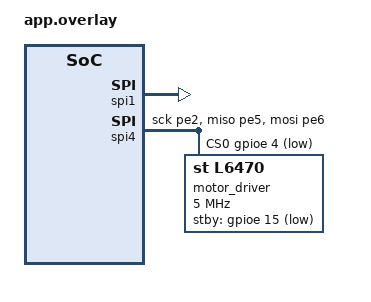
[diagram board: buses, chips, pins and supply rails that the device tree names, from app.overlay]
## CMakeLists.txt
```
# SPDX-License-Identifier: Apache-2.0

cmake_minimum_required(VERSION 3.20.0)

set(BOARD nucleo_f429zi)

find_package(Zephyr REQUIRED HINTS $ENV{ZEPHYR_BASE})
project(micro-ros-zephyr-demo)

target_sources(app PRIVATE
  src/l64x0.c
  src/main.c)
```

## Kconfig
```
mainmenu "ST L6470 test application"

menu "Application"

choice MOTOR_DRIVER
	prompt "Motor Driver"
	help
	  Select the motor driver.

config L6470
	bool "L6470"

config L6480
	bool "L6480"

endchoice

config L64X0_INIT_PRIORITY
	int "Motor init priority"
	default 75
	help
	  Motor driver initialization priority. This must be larger
	  than config CONFIG_SPI_INIT_PRIORITY, which is 70.

endmenu

menu "Zephyr"
source "Kconfig.zephyr"
endmenu
```

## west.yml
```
manifest:

  projects:
    - name: zephyr
      url: https://github.com/zephyrproject-rtos/zephyr
      revision: main
      path: zephyr
      west-commands: scripts/west-commands.yml
      import:
        name-allowlist:
          - cmsis
          - hal_stm32
          - picolibc
```

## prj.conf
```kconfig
CONFIG_LOG=y
CONFIG_SPI=y
CONFIG_GPIO=y
```

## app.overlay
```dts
&spi1 {
	status = "okay";
};

&spi4 {
	pinctrl-0 = <&spi4_sck_pe2 &spi4_miso_pe5 &spi4_mosi_pe6>;
	pinctrl-names = "default";
	cs-gpios = <&gpioe 4 (GPIO_ACTIVE_LOW | GPIO_PULL_UP)>;
	status = "okay";
	motor_driver: l6470@0 {
		compatible = "st,l6470";
		reg = <0>;
		spi-max-frequency = <5000000>;
		stby-gpios = <&gpioe 15 (GPIO_ACTIVE_LOW)>;
		status = "okay";
	};
};

&spi4_sck_pe2 {
	/delete-property/ bias-pull-down;
	bias-pull-up;
};
```

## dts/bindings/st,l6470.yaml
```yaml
# Copyright (c) 2023, Space Cubics, LLC.
# SPDX-License-Identifier: Apache-2.0

description: my device

compatible: "st,l6470"

include: [base.yaml, spi-device.yaml]

properties:
  reg:
    required: true

  stby-gpios:
    type: phandle-array
    required: true
```

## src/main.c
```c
/*
 * Copyright (c) 2023 Space Cubics, LLC.
 *
 * SPDX-License-Identifier: Apache-2.0
 */

#include <zephyr/logging/log.h>
LOG_MODULE_REGISTER(app, LOG_LEVEL_DBG);

#include <zephyr/kernel.h>
#include <zephyr/drivers/gpio.h>
#include <zephyr/sys/util.h>
#include <stdlib.h>

#include "l64x0.h"

#define MOTOR_DRIVER DT_NODELABEL(motor_driver)

#if IS_ENABLED(CONFIG_L6470)
static void debug_print(const struct device *const dev, int count)
{
	uint16_t adc_out = l64x0_getparam_adc_out(dev);
	uint32_t speed = l64x0_getparam_speed(dev);
	uint32_t status = l64x0_get_status(dev);
	printk("%d: Speed: %u (0x%x), Status: 0x%x (%s%s%s%s%s%s%s%s%s%s%s%s%s), ADC_OUT %x\n",
	       count,
	       speed, speed, status,
	       (status & L6470_STATUS_SCK_MOD) ? "SCK_MOD " : "",
	       (status & L6470_STATUS_STEP_LOSS_B) ? "" : "STEP_LOSS_B ",
	       (status & L6470_STATUS_STEP_LOSS_A) ? "" : "STEP_LOSS_A ",
	       (status & L6470_STATUS_OCD) ? "" : "OCD ",
	       (status & L6470_STATUS_TH_SD) ? "" : "TH_SD ",
	       (status & L6470_STATUS_TH_WRN) ? "" : "TH_WRN ",
	       (status & L6470_STATUS_UVLO) ? "" : "UVLO ",
	       (status & L6470_STATUS_WRONG_CMD) ? "WRONG_CMD " : "",
	       (status & L6470_STATUS_NOTPERF_CMD) ? "NOTPERF_CMD " : "",
	       (status & L6470_STATUS_DIR) ? "DIR_f " : "DIR_r ",
	       (status & L6470_STATUS_SW_EVN) ? "SW_EVN " : "",
	       (status & L6470_STATUS_BUSY) ? "" : "BUSY ",
	       (status & L6470_STATUS_HiZ) ? "HiZ" : "",
	       adc_out);
}
#elif IS_ENABLED(CONFIG_L6480)
static void debug_print(const struct device *const dev, int count)
{
	uint16_t adc_out = l64x0_getparam_adc_out(dev);
	uint32_t speed = l64x0_getparam_speed(dev);
	uint32_t status = l64x0_get_status(dev);
	printk("%d: Speed: %u (0x%x), Status: 0x%x (%s%s%s%s%s%s%s%s%s%s%s%s), ADC_OUT %x\n",
	       count,
	       speed, speed, status,
	       (status & L6480_STATUS_STEP_LOSS_B) ? "" : "STEP_LOSS_B ",
	       (status & L6480_STATUS_STEP_LOSS_A) ? "" : "STEP_LOSS_A ",
	       (status & L6480_STATUS_OCD) ? "" : "OCD ",
	       (status & L6480_STATUS_UVLO_ADC) ? "" : "UVLO_ADC ",
	       (status & L6480_STATUS_UVLO) ? "" : "UVLO ",
	       (status & L6480_STATUS_STCK_MOD) ? "STCK_MOD " : "",
	       (status & L6480_STATUS_CMD_ERROR) ? "CMD_ERROR " : "",
	       (status & L6480_STATUS_DIR) ? "DIR_f " : "DIR_r ",
	       (status & L6480_STATUS_SW_EVN) ? "SW_EVN " : "",
	       (status & L6480_STATUS_SW_F) ? "SW_F " : "",
	       (status & L6480_STATUS_BUSY) ? "" : "BUSY ",
	       (status & L6480_STATUS_HiZ) ? "HiZ" : "",
	       adc_out);
}
#endif

int main(void)
{
	const struct device *const dev = DEVICE_DT_GET(MOTOR_DRIVER);

	if (!device_is_ready(dev)) {
		printk("%s: device not ready.\n", dev->name);
		return EXIT_FAILURE;
	}

	const struct gpio_dt_spec n_stby =
		GPIO_DT_SPEC_GET(DT_NODELABEL(motor_driver), stby_gpios);
	if (!device_is_ready(n_stby.port)) {
		printk("%s: device not ready.\n", dev->name);
		return EXIT_FAILURE;
	}
	gpio_pin_configure_dt(&n_stby, GPIO_OUTPUT_ACTIVE);
	k_usleep(10);
	gpio_pin_set_dt(&n_stby, 0);

	k_sleep(K_MSEC(1));


	l64x0_nop(dev);
	l64x0_nop(dev);
	l64x0_nop(dev);
	l64x0_nop(dev);
	l64x0_reset_device(dev);
	k_usleep(500);
	debug_print(dev, -1);

	/* K_VAL = (K_VAL_X + BEMF_COMP) * VSCOMP * K_THERM) * microstep */
	/* No compensation is active */
	/** The K_VALs */
	l64x0_setparam_kval_hold(dev, L64X0_KVAL_X_256TH(22));
	l64x0_setparam_kval_acc(dev, L64X0_KVAL_X_256TH(22));
	l64x0_setparam_kval_dec(dev, L64X0_KVAL_X_256TH(22));
	l64x0_setparam_kval_run(dev, L64X0_KVAL_X_256TH(22));

	/** No BEMF for now */
	/* l64x0_setparam_st_slp(dev, 0); */
	/* l64x0_setparam_fn_slp_acc(dev, 0); */
	/* l64x0_setparam_fn_slp_dec(dev, 0); */

	/** VSCOMP is at CONFIG register */
	/** K_THERM is default 0 */

	/** 128 micro-steps */
	l64x0_setparam_step_mode(dev, L64X0_STEP_MODE_128TH);

	/* Accel and speed */
	l64x0_setparam_acc(dev, 0x19);
	l64x0_setparam_dec(dev, 0x10);
	l64x0_setparam_max_speed(dev, 30);
	l64x0_setparam_min_speed(dev, 1, false);

	l64x0_setparam_fs_spd(dev, 0x3ff);

	if (IS_ENABLED(CONFIG_L6470)) {
		/* OCD and Stall */
		l64x0_setparam_ocd_th(dev, L6470_OCD_TH_4125_mV);
		l64x0_setparam_stall_th(dev, L6470_STALL_TH_4000_mA);
	}
	else if (IS_ENABLED(CONFIG_L6480)) {
		/* OCD and Stall */
		l64x0_setparam_ocd_th(dev, L6480_OCD_TH_125_mV);
		l64x0_setparam_stall_th(dev, L6480_STALL_TH_125_mV);

		/* Gate Drive */
		l64x0_setparam_gatecfg1(dev, L6480_IGATE_8_mA | L6480_TCC_2875_ns);

		/* Configs */
		uint32_t reg;
		reg = l64x0_getparam_config(dev);
		l64x0_setparam_config(dev, reg | L6480_CONFIG_VCCVAL | L6480_CONFIG_UVLOVAL);
	}

	/* Now setttings are all done, wait for the charge pump to be above the threshold */
	WAIT_FOR(l64x0_get_status(dev) & L64X0_STATUS_UVLO, 2000, printk("."));
	printk("\n");

	l64x0_run(dev, 0x8000);
	//l64x0_move(dev, 0x128000);
	//l64x0_soft_stop(dev);

	for (int i=0; i<20; i++) {
		debug_print(dev, i);
		k_sleep(K_SECONDS(1));
	}
	printk("loop end\n");
	l64x0_soft_hiz(dev);
	printk("done\n");

	return EXIT_SUCCESS;
}
```

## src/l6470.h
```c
#include <zephyr/sys/util.h>
#include <zephyr/drivers/spi.h>

enum L64x0Addr {
	L64x0_ADDR_ABS_POS    = 0x01,
	L64x0_ADDR_EL_POS     = 0x02,
	L64x0_ADDR_MARK	      = 0x03,
	L64x0_ADDR_SPEED      = 0x04,
	L64x0_ADDR_ACC	      = 0x05,
	L64x0_ADDR_DEC	      = 0x06,
	L64x0_ADDR_MAX_SPEED  = 0x07,
	L64x0_ADDR_MIN_SPEED  = 0x08,
	L64x0_ADDR_KVAL_HOLD  = 0x09,
	L64x0_ADDR_KVAL_RUN   = 0x0a,
	L64x0_ADDR_KVAL_ACC   = 0x0b,
	L64x0_ADDR_KVAL_DEC   = 0x0c,
	L64x0_ADDR_INT_SPEED  = 0x0d,
	L64x0_ADDR_ST_SLP     = 0x0e,
	L64x0_ADDR_FN_SLP_ACC = 0x0f,
	L64x0_ADDR_FN_SLP_DEC = 0x10,
	L64x0_ADDR_K_THERM    = 0x11,
	L64x0_ADDR_ADC_OUT    = 0x12,
	L64x0_ADDR_OCD_TH     = 0x13,
	L64x0_ADDR_STALL_TH   = 0x14,
	L64x0_ADDR_FS_SPD     = 0x15,
	L64x0_ADDR_STEP_MODE  = 0x16,
	L64x0_ADDR_ALARM_EN   = 0x17,
	L64x0_ADDR_CONFIG     = 0x18,
	L64x0_ADDR_STATUS     = 0x19,
	L64x0_ADDR_LAST,
};

/* Minimum speed */
#define L64X0_MIN_SPEED_LSPD_OPT (0x800)

/* KVAL_X */
#define L64X0_KVAL_X_256TH(x) ((x) & GENMASK(7, 0))

/* Overcurrent Threshold */
#define L64X0_OCD_TH_375_mV  (0)
#define L64X0_OCD_TH_750_mV  (1)
#define L64X0_OCD_TH_1125_mV (2)
#define L64X0_OCD_TH_1500_mV (3)
#define L64X0_OCD_TH_1875_mV (4)
#define L64X0_OCD_TH_2250_mV (5)
#define L64X0_OCD_TH_2625_mV (6)
#define L64X0_OCD_TH_3000_mV (7)
#define L64X0_OCD_TH_3375_mV (8)
#define L64X0_OCD_TH_3750_mV (9)
#define L64X0_OCD_TH_4125_mV (10)
#define L64X0_OCD_TH_4500_mV (11)
#define L64X0_OCD_TH_4875_mV (12)
#define L64X0_OCD_TH_5250_mV (13)
#define L64X0_OCD_TH_5625_mV (14)
#define L64X0_OCD_TH_6000_mV (15)

/* Stall Threshold */
#define L64X0_STALL_TH_31_25_mA		(0)
#define L64X0_STALL_TH_62_50_mA		(1)
#define L64X0_STALL_TH_93_75_mA		(2)
#define L64X0_STALL_TH_125_mA		(3)
#define L64X0_STALL_TH_156_25_mA	(4)
#define L64X0_STALL_TH_187_50_mA	(5)
#define L64X0_STALL_TH_218_75_mA	(6)
#define L64X0_STALL_TH_250_mA		(7)
#define L64X0_STALL_TH_281_25_mA	(8)
#define L64X0_STALL_TH_312_50_mA	(9)
#define L64X0_STALL_TH_343_75_mA	(10)
#define L64X0_STALL_TH_375_mA		(11)
#define L64X0_STALL_TH_406_25_mA	(12)
#define L64X0_STALL_TH_437_50_mA	(13)
#define L64X0_STALL_TH_468_75_mA	(14)
#define L64X0_STALL_TH_500_mA		(15)
#define L64X0_STALL_TH_531_25_mA	(16)
#define L64X0_STALL_TH_562_50_mA	(17)
#define L64X0_STALL_TH_593_75_mA	(18)
#define L64X0_STALL_TH_625_mA		(19)
#define L64X0_STALL_TH_656_25_mA	(20)
#define L64X0_STALL_TH_687_50_mA	(21)
#define L64X0_STALL_TH_718_75_mA	(22)
#define L64X0_STALL_TH_750_mA		(23)
#define L64X0_STALL_TH_781_25_mA	(24)
#define L64X0_STALL_TH_812_50_mA	(25)
#define L64X0_STALL_TH_843_75_mA	(26)
#define L64X0_STALL_TH_875_mA		(27)
#define L64X0_STALL_TH_906_25_mA	(28)
#define L64X0_STALL_TH_937_50_mA	(29)
#define L64X0_STALL_TH_968_75_mA	(30)
#define L64X0_STALL_TH_1000_mA		(31)
#define L64X0_STALL_TH_1031_25_mA	(32)
#define L64X0_STALL_TH_1062_50_mA	(33)
#define L64X0_STALL_TH_1093_75_mA	(34)
#define L64X0_STALL_TH_1125_mA		(35)
#define L64X0_STALL_TH_1156_25_mA	(36)
#define L64X0_STALL_TH_1187_50_mA	(37)
#define L64X0_STALL_TH_1218_75_mA	(38)
#define L64X0_STALL_TH_1250_mA		(39)
#define L64X0_STALL_TH_1281_25_mA	(40)
#define L64X0_STALL_TH_1312_50_mA	(41)
#define L64X0_STALL_TH_1343_75_mA	(42)
#define L64X0_STALL_TH_1375_mA		(43)
#define L64X0_STALL_TH_1406_25_mA	(44)
#define L64X0_STALL_TH_1437_50_mA	(45)
#define L64X0_STALL_TH_1468_75_mA	(46)
#define L64X0_STALL_TH_1500_mA		(47)
#define L64X0_STALL_TH_1531_25_mA	(48)
#define L64X0_STALL_TH_1562_50_mA	(49)
#define L64X0_STALL_TH_1593_75_mA	(50)
#define L64X0_STALL_TH_1625_mA		(51)
#define L64X0_STALL_TH_1656_25_mA	(52)
#define L64X0_STALL_TH_1687_50_mA	(53)
#define L64X0_STALL_TH_1718_75_mA	(54)
#define L64X0_STALL_TH_1750_mA		(55)
#define L64X0_STALL_TH_1781_25_mA	(56)
#define L64X0_STALL_TH_1812_50_mA	(57)
#define L64X0_STALL_TH_1843_75_mA	(58)
#define L64X0_STALL_TH_1875_mA		(59)
#define L64X0_STALL_TH_1906_25_mA	(60)
#define L64X0_STALL_TH_1937_50_mA	(61)
#define L64X0_STALL_TH_1968_75_mA	(62)
#define L64X0_STALL_TH_2000_mA		(63)
#define L64X0_STALL_TH_2031_25_mA	(64)
#define L64X0_STALL_TH_2062_50_mA	(65)
#define L64X0_STALL_TH_2093_75_mA	(66)
#define L64X0_STALL_TH_2125_mA		(67)
#define L64X0_STALL_TH_2156_25_mA	(68)
#define L64X0_STALL_TH_2187_50_mA	(69)
#define L64X0_STALL_TH_2218_75_mA	(70)
#define L64X0_STALL_TH_2250_mA		(71)
#define L64X0_STALL_TH_2281_25_mA	(72)
#define L64X0_STALL_TH_2312_50_mA	(73)
#define L64X0_STALL_TH_2343_75_mA	(74)
#define L64X0_STALL_TH_2375_mA		(75)
#define L64X0_STALL_TH_2406_25_mA	(76)
#define L64X0_STALL_TH_2437_50_mA	(77)
#define L64X0_STALL_TH_2468_75_mA	(78)
#define L64X0_STALL_TH_2500_mA		(79)
#define L64X0_STALL_TH_2531_25_mA	(80)
#define L64X0_STALL_TH_2562_50_mA	(81)
#define L64X0_STALL_TH_2593_75_mA	(82)
#define L64X0_STALL_TH_2625_mA		(83)
#define L64X0_STALL_TH_2656_25_mA	(84)
#define L64X0_STALL_TH_2687_50_mA	(85)
#define L64X0_STALL_TH_2718_75_mA	(86)
#define L64X0_STALL_TH_2750_mA		(87)
#define L64X0_STALL_TH_2781_25_mA	(88)
#define L64X0_STALL_TH_2812_50_mA	(89)
#define L64X0_STALL_TH_2843_75_mA	(90)
#define L64X0_STALL_TH_2875_mA		(91)
#define L64X0_STALL_TH_2906_25_mA	(92)
#define L64X0_STALL_TH_2937_50_mA	(93)
#define L64X0_STALL_TH_2968_75_mA	(94)
#define L64X0_STALL_TH_3000_mA		(95)
#define L64X0_STALL_TH_3031_25_mA	(96)
#define L64X0_STALL_TH_3062_50_mA	(97)
#define L64X0_STALL_TH_3093_75_mA	(98)
#define L64X0_STALL_TH_3125_mA		(99)
#define L64X0_STALL_TH_3156_25_mA	(100)
#define L64X0_STALL_TH_3187_50_mA	(101)
#define L64X0_STALL_TH_3218_75_mA	(102)
#define L64X0_STALL_TH_3250_mA		(103)
#define L64X0_STALL_TH_3281_25_mA	(104)
#define L64X0_STALL_TH_3312_50_mA	(105)
#define L64X0_STALL_TH_3343_75_mA	(106)
#define L64X0_STALL_TH_3375_mA		(107)
#define L64X0_STALL_TH_3406_25_mA	(108)
#define L64X0_STALL_TH_3437_50_mA	(109)
#define L64X0_STALL_TH_3468_75_mA	(110)
#define L64X0_STALL_TH_3500_mA		(111)
#define L64X0_STALL_TH_3531_25_mA	(112)
#define L64X0_STALL_TH_3562_50_mA	(113)
#define L64X0_STALL_TH_3593_75_mA	(114)
#define L64X0_STALL_TH_3625_mA		(115)
#define L64X0_STALL_TH_3656_25_mA	(116)
#define L64X0_STALL_TH_3687_50_mA	(117)
#define L64X0_STALL_TH_3718_75_mA	(118)
#define L64X0_STALL_TH_3750_mA		(119)
#define L64X0_STALL_TH_3781_25_mA	(120)
#define L64X0_STALL_TH_3812_50_mA	(121)
#define L64X0_STALL_TH_3843_75_mA	(122)
#define L64X0_STALL_TH_3875_mA		(123)
#define L64X0_STALL_TH_3906_25_mA	(124)
#define L64X0_STALL_TH_3937_50_mA	(125)
#define L64X0_STALL_TH_3968_75_mA	(126)
#define L64X0_STALL_TH_4000_mA		(127)

/* Step mode */
#define L64X0_STEP_MODE_FULL          (0)
#define L64X0_STEP_MODE_HALF          (1)
#define L64X0_STEP_MODE_QUARTER       (2)
#define L64X0_STEP_MODE_8TH           (3)
#define L64X0_STEP_MODE_16TH          (4)
#define L64X0_STEP_MODE_32TH          (5)
#define L64X0_STEP_MODE_64TH          (6)
#define L64X0_STEP_MODE_128TH         (7)

/* IC configuration Register */
#define L64X0_CONFIG_F_PWM_INT(x)	(((x) << 13) & GENMASK(15, 13))
#define L64X0_CONFIG_F_PWM_DEC(x)	(((x) << 10) & GENMASK(12, 10))
#define L64X0_CONFIG_POW_SR(x)		(((x) << 8) & GENMASK(9, 8))
#define L64X0_CONFIG_OC_SD		BIT(7)
#define L64X0_CONFIG_EN_VSCOMP		BIT(5)
#define L64X0_CONFIG_SW_MODE		BIT(4)
#define L64X0_CONFIG_EXT_CLK		BIT(3)
#define L64X0_CONFIG_OSC_SEL(x)		((x) & GENMASK(2, 0))

/* Status */
#define L64X0_STATUS_SCK_MOD		BIT(15)
#define L64X0_STATUS_STEP_LOSS_B	BIT(14)
#define L64X0_STATUS_STEP_LOSS_A	BIT(13)
#define L64X0_STATUS_OCD		BIT(12)
#define L64X0_STATUS_TH_SD		BIT(11)
#define L64X0_STATUS_TH_WRN		BIT(10)
#define L64X0_STATUS_UVLO		BIT(9)
#define L64X0_STATUS_WRONG_CMD		BIT(8)
#define L64X0_STATUS_NOTPERF_CMD	BIT(7)
#define L64X0_STATUS_MOT_STATUS(x)	(((x) << 5) & GENMASK(6, 5))
#define L64X0_STATUS_DIR		BIT(4)
#define L64X0_STATUS_SW_EVN		BIT(3)
#define L64X0_STATUS_SW_F		BIT(2)
#define L64X0_STATUS_BUSY		BIT(1)
#define L64X0_STATUS_HiZ		BIT(0)
#define L64X0_STATUS_HIZ		STATUS_HiZ

int l64x0_nop(const struct device *const dev, struct spi_config *config);
void l64x0_setparam(const struct device *const dev, struct spi_config *config, uint8_t param, uint32_t val);
int l64x0_getparam(const struct device *const dev, struct spi_config *config, uint8_t param);
int l64x0_run(const struct device *const dev, struct spi_config *config, int speed);
int l64x0_move(const struct device *const dev, struct spi_config *config, int n_step);
int l64x0_reset_device(const struct device *const dev, struct spi_config *config);
int l64x0_soft_stop(const struct device *const dev, struct spi_config *config);
int l64x0_hard_stop(const struct device *const dev, struct spi_config *config);
int l64x0_soft_hiz(const struct device *const dev, struct spi_config *config);
int l64x0_hard_hiz(const struct device *const dev, struct spi_config *config);
int l64x0_get_status(const struct device *const dev, struct spi_config *config);

#define GEN_SETPARAM(fname, pname)					\
	static inline void l64x0_setparam_ ##fname(const struct device *const dev, struct spi_config *config, uint32_t val) \
	{								\
		l64x0_setparam(dev, config, L64x0_ADDR_ ##pname, val);	\
	}

GEN_SETPARAM(acc, ACC)
GEN_SETPARAM(dec, DEC)
GEN_SETPARAM(max_speed, MAX_SPEED)
static inline void l64x0_setparam_min_speed(const struct device *const dev, struct spi_config *config, uint32_t speed, bool lspd_opt)
{
	uint32_t val = speed & GENMASK(11, 0);

	if (lspd_opt)
		val |= L64X0_MIN_SPEED_LSPD_OPT;

	l64x0_setparam(dev, config, L64x0_ADDR_MIN_SPEED, val);
}
GEN_SETPARAM(kval_hold, KVAL_HOLD)
GEN_SETPARAM(kval_run, KVAL_RUN)
GEN_SETPARAM(kval_acc, KVAL_ACC)
GEN_SETPARAM(kval_dec, KVAL_DEC)
GEN_SETPARAM(int_speed, INT_SPEED)
GEN_SETPARAM(st_slp, ST_SLP)
GEN_SETPARAM(fn_slp_acc, FN_SLP_ACC)
GEN_SETPARAM(fn_slp_dec, FN_SLP_DEC)
GEN_SETPARAM(k_therm, K_THERM)
GEN_SETPARAM(adc_out, ADC_OUT)
GEN_SETPARAM(ocd_th, OCD_TH)
GEN_SETPARAM(stall_th, STALL_TH)
GEN_SETPARAM(fs_spd, FS_SPD)
GEN_SETPARAM(step_mode, STEP_MODE)
GEN_SETPARAM(alarm_en, ALARM_EN)
GEN_SETPARAM(config, CONFIG)
GEN_SETPARAM(status, STATUS)

#define GEN_GETPARAM(fname, pname)					\
	static inline int l64x0_getparam_ ##fname(const struct device *const dev, struct spi_config *config) \
	{								\
		return l64x0_getparam(dev, config, L64x0_ADDR_ ##pname);	\
	}

GEN_GETPARAM(abs_pos, ABS_POS)
GEN_GETPARAM(el_pos, EL_POS)
GEN_GETPARAM(mark, MARK)
GEN_GETPARAM(speed, SPEED)
GEN_GETPARAM(acc, ACC)
GEN_GETPARAM(dec, DEC)
GEN_GETPARAM(max_speed, MAX_SPEED)
GEN_GETPARAM(min_speed, MIN_SPEED)
GEN_GETPARAM(kval_hold, KVAL_HOLD)
GEN_GETPARAM(kval_run, KVAL_RUN)
GEN_GETPARAM(kval_acc, KVAL_ACC)
GEN_GETPARAM(kval_dec, KVAL_DEC)
GEN_GETPARAM(int_speed, INT_SPEED)
GEN_GETPARAM(st_slp, ST_SLP)
GEN_GETPARAM(fn_slp_acc, FN_SLP_ACC)
GEN_GETPARAM(fn_slp_dec, FN_SLP_DEC)
GEN_GETPARAM(k_therm, K_THERM)
GEN_GETPARAM(adc_out, ADC_OUT)
GEN_GETPARAM(ocd_th, OCD_TH)
GEN_GETPARAM(stall_th, STALL_TH)
GEN_GETPARAM(fs_spd, FS_SPD)
GEN_GETPARAM(step_mode, STEP_MODE)
GEN_GETPARAM(alarm_en, ALARM_EN)
GEN_GETPARAM(config, CONFIG)
GEN_GETPARAM(status, STATUS)
```

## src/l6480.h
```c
#include <zephyr/sys/util.h>
#include <zephyr/drivers/spi.h>

enum L64x0Addr {
	L64x0_ADDR_ABS_POS    = 0x01,
	L64x0_ADDR_EL_POS     = 0x02,
	L64x0_ADDR_MARK	      = 0x03,
	L64x0_ADDR_SPEED      = 0x04,
	L64x0_ADDR_ACC	      = 0x05,
	L64x0_ADDR_DEC	      = 0x06,
	L64x0_ADDR_MAX_SPEED  = 0x07,
	L64x0_ADDR_MIN_SPEED  = 0x08,
	L64x0_ADDR_KVAL_HOLD  = 0x09,
	L64x0_ADDR_KVAL_RUN   = 0x0a,
	L64x0_ADDR_KVAL_ACC   = 0x0b,
	L64x0_ADDR_KVAL_DEC   = 0x0c,
	L64x0_ADDR_INT_SPEED  = 0x0d,
	L64x0_ADDR_ST_SLP     = 0x0e,
	L64x0_ADDR_FN_SLP_ACC = 0x0f,
	L64x0_ADDR_FN_SLP_DEC = 0x10,
	L64x0_ADDR_K_THERM    = 0x11,
	L64x0_ADDR_ADC_OUT    = 0x12,
	L64x0_ADDR_OCD_TH     = 0x13,
	L64x0_ADDR_STALL_TH   = 0x14,
	L64x0_ADDR_FS_SPD     = 0x15,
	L64x0_ADDR_STEP_MODE  = 0x16,
	L64x0_ADDR_ALARM_EN   = 0x17,
	L64x0_ADDR_GATECFG1   = 0x18,
	L64x0_ADDR_GATECFG2   = 0x19,
	L64x0_ADDR_CONFIG     = 0x1a,
	L64x0_ADDR_STATUS     = 0x1b,
	L64x0_ADDR_LAST,
};

/* Minimum speed */
#define L64X0_MIN_SPEED_LSPD_OPT (0x800)

/* KVAL_X */
#define L64X0_KVAL_X_256TH(x) ((x) & GENMASK(7, 0))

/* Overcurrent Threshold */
#define L64X0_OCD_TH_31_25_mV         (0)
#define L64X0_OCD_TH_62_50_mV         (1)
#define L64X0_OCD_TH_93_75_mV         (2)
#define L64X0_OCD_TH_125_mV           (3)
#define L64X0_OCD_TH_156_25_mV        (4)
#define L64X0_OCD_TH_187_50_mV        (5)
#define L64X0_OCD_TH_218_75_mV        (6)
#define L64X0_OCD_TH_250_mV           (7)
#define L64X0_OCD_TH_281_25_mV        (8)
#define L64X0_OCD_TH_312_50_mV        (9)
#define L64X0_OCD_TH_343_75_mV        (10)
#define L64X0_OCD_TH_375_mV           (11)
#define L64X0_OCD_TH_406_25_mV        (12)
#define L64X0_OCD_TH_437_50_mV        (13)
#define L64X0_OCD_TH_468_75_mV        (14)
#define L64X0_OCD_TH_500_mV           (15)
#define L64X0_OCD_TH_531_25_mV        (16)
#define L64X0_OCD_TH_562_50_mV        (17)
#define L64X0_OCD_TH_593_75_mV        (18)
#define L64X0_OCD_TH_625_mV           (19)
#define L64X0_OCD_TH_656_25_mV        (20)
#define L64X0_OCD_TH_687_50_mV        (21)
#define L64X0_OCD_TH_718_75_mV        (22)
#define L64X0_OCD_TH_750_mV           (23)
#define L64X0_OCD_TH_781_25_mV        (24)
#define L64X0_OCD_TH_812_50_mV        (25)
#define L64X0_OCD_TH_843_75_mV        (26)
#define L64X0_OCD_TH_875_mV           (27)
#define L64X0_OCD_TH_906_25_mV        (28)
#define L64X0_OCD_TH_937_50_mV        (29)
#define L64X0_OCD_TH_968_75_mV        (30)
#define L64X0_OCD_TH_1000_mV          (31)

/* Stall detection Threshold */
#define L64X0_STALL_TH_31_25_mV         (0)
#define L64X0_STALL_TH_62_50_mV         (1)
#define L64X0_STALL_TH_93_75_mV         (2)
#define L64X0_STALL_TH_125_mV           (3)
#define L64X0_STALL_TH_156_25_mV        (4)
#define L64X0_STALL_TH_187_50_mV        (5)
#define L64X0_STALL_TH_218_75_mV        (6)
#define L64X0_STALL_TH_250_mV           (7)
#define L64X0_STALL_TH_281_25_mV        (8)
#define L64X0_STALL_TH_312_50_mV        (9)
#define L64X0_STALL_TH_343_75_mV        (10)
#define L64X0_STALL_TH_375_mV           (11)
#define L64X0_STALL_TH_406_25_mV        (12)
#define L64X0_STALL_TH_437_50_mV        (13)
#define L64X0_STALL_TH_468_75_mV        (14)
#define L64X0_STALL_TH_500_mV           (15)
#define L64X0_STALL_TH_531_25_mV        (16)
#define L64X0_STALL_TH_562_50_mV        (17)
#define L64X0_STALL_TH_593_75_mV        (18)
#define L64X0_STALL_TH_625_mV           (19)
#define L64X0_STALL_TH_656_25_mV        (20)
#define L64X0_STALL_TH_687_50_mV        (21)
#define L64X0_STALL_TH_718_75_mV        (22)
#define L64X0_STALL_TH_750_mV           (23)
#define L64X0_STALL_TH_781_25_mV        (24)
#define L64X0_STALL_TH_812_50_mV        (25)
#define L64X0_STALL_TH_843_75_mV        (26)
#define L64X0_STALL_TH_875_mV           (27)
#define L64X0_STALL_TH_906_25_mV        (28)
#define L64X0_STALL_TH_937_50_mV        (29)
#define L64X0_STALL_TH_968_75_mV        (30)
#define L64X0_STALL_TH_1000_mV          (31)

/* Step mode */
#define L64X0_STEP_MODE_FULL          (0)
#define L64X0_STEP_MODE_HALF          (1)
#define L64X0_STEP_MODE_QUARTER       (2)
#define L64X0_STEP_MODE_8TH           (3)
#define L64X0_STEP_MODE_16TH          (4)
#define L64X0_STEP_MODE_32TH          (5)
#define L64X0_STEP_MODE_64TH          (6)
#define L64X0_STEP_MODE_128TH         (7)

/* Gate driver configuration */
#define L64X0_WD_EN	BIT(11)

#define L64X0_TBOOST_0_ns		(0)
#define L64X0_TBOOST_625_833_125_ns	(1 << 8)
#define L64X0_TBOOST_125_ns		(2 << 8)
#define L64X0_TBOOST_250_ns		(3 << 8)
#define L64X0_TBOOST_375_ns		(4 << 8)
#define L64X0_TBOOST_500_ns		(5 << 8)
#define L64X0_TBOOST_750_ns		(6 << 8)
#define L64X0_TBOOST_1000_ns		(7 << 8)

#define L64X0_IGATE_4_mA (0)
/* #define L64X0_IGATE_4_mA (1 << 5) */
#define L64X0_IGATE_8_mA (2 << 5)
#define L64X0_IGATE_16_mA (3 << 5)
#define L64X0_IGATE_24_mA (4 << 5)
#define L64X0_IGATE_32_mA (5 << 5)
#define L64X0_IGATE_64_mA (6 << 5)
#define L64X0_IGATE_96_mA (7 << 5)

#define L64X0_TCC_125_ns	(0)
#define L64X0_TCC_250_ns	(1)
#define L64X0_TCC_375_ns	(2)
#define L64X0_TCC_500_ns	(3)
#define L64X0_TCC_625_ns	(4)
#define L64X0_TCC_750_ns	(5)
#define L64X0_TCC_875_ns	(6)
#define L64X0_TCC_1000_ns	(7)
#define L64X0_TCC_1125_ns	(8)
#define L64X0_TCC_1250_ns	(9)
#define L64X0_TCC_1375_ns	(10)
#define L64X0_TCC_1500_ns	(11)
#define L64X0_TCC_1625_ns	(12)
#define L64X0_TCC_1750_ns	(13)
#define L64X0_TCC_1875_ns	(14)
#define L64X0_TCC_2000_ns	(15)
#define L64X0_TCC_2125_ns	(16)
#define L64X0_TCC_2250_ns	(17)
#define L64X0_TCC_2375_ns	(18)
#define L64X0_TCC_2500_ns	(19)
#define L64X0_TCC_2625_ns	(20)
#define L64X0_TCC_2750_ns	(21)
#define L64X0_TCC_2875_ns	(22)
#define L64X0_TCC_3000_ns	(23)
#define L64X0_TCC_3125_ns	(24)
#define L64X0_TCC_3250_ns	(25)
#define L64X0_TCC_3375_ns	(26)
#define L64X0_TCC_3500_ns	(27)
#define L64X0_TCC_3625_ns	(28)
/* #define L64X0_TCC_3750_ns	(29) */
/* #define L64X0_TCC_3750_ns	(30) */
#define L64X0_TCC_3750_ns	(31)

/* IC configuration Register */
#define L64X0_CONFIG_F_PWM_INT(x)	(((x) << 13) & GENMASK(15, 13))
#define L64X0_CONFIG_F_PWM_DEC(x)	(((x) << 10) & GENMASK(12, 10))
#define L64X0_CONFIG_VCCVAL		BIT(9)
#define L64X0_CONFIG_UVLOVAL		BIT(8)
#define L64X0_CONFIG_OC_SD		BIT(7)
#define L64X0_CONFIG_EN_VSCOMP		BIT(5)
#define L64X0_CONFIG_SW_MODE		BIT(4)
#define L64X0_CONFIG_EXT_CLK		BIT(3)
#define L64X0_CONFIG_OSC_SEL(x)		((x) & GENMASK(2, 0))

/* Status */
#define L64X0_STATUS_STEP_LOSS_B	BIT(15)
#define L64X0_STATUS_STEP_LOSS_A	BIT(14)
#define L64X0_STATUS_OCD		BIT(13)
#define L64X0_STATUS_TH_STATUS(x)	(((x) << 11) & GENMASK(12, 11))
#define L64X0_STATUS_UVLO_ADC		BIT(10)
#define L64X0_STATUS_UVLO		BIT(9)
#define L64X0_STATUS_STCK_MOD		BIT(8)
#define L64X0_STATUS_CMD_ERROR		BIT(7)
#define L64X0_STATUS_MOT_STATUS(x)	(((x) << 5) & GENMASK(6, 5))
#define L64X0_STATUS_DIR		BIT(4)
#define L64X0_STATUS_SW_EVN		BIT(3)
#define L64X0_STATUS_SW_F		BIT(2)
#define L64X0_STATUS_BUSY		BIT(1)
#define L64X0_STATUS_HiZ		BIT(0)
#define L64X0_STATUS_HIZ		STATUS_HiZ

int l64x0_nop(const struct device *const dev, struct spi_config *config);
void l64x0_setparam(const struct device *const dev, struct spi_config *config, uint8_t param, uint32_t val);
int l64x0_getparam(const struct device *const dev, struct spi_config *config, uint8_t param);
int l64x0_run(const struct device *const dev, struct spi_config *config, int speed);
int l64x0_move(const struct device *const dev, struct spi_config *config, int n_step);
int l64x0_reset_device(const struct device *const dev, struct spi_config *config);
int l64x0_soft_stop(const struct device *const dev, struct spi_config *config);
int l64x0_hard_stop(const struct device *const dev, struct spi_config *config);
int l64x0_soft_hiz(const struct device *const dev, struct spi_config *config);
int l64x0_hard_hiz(const struct device *const dev, struct spi_config *config);
int l64x0_get_status(const struct device *const dev, struct spi_config *config);

#define GEN_SETPARAM(fname, pname)					\
	static inline void l64x0_setparam_ ##fname(const struct device *const dev, struct spi_config *config, uint32_t val) \
	{								\
		l64x0_setparam(dev, config, L64x0_ADDR_ ##pname, val);	\
	}

GEN_SETPARAM(acc, ACC)
GEN_SETPARAM(dec, DEC)
GEN_SETPARAM(max_speed, MAX_SPEED)
static inline void l64x0_setparam_min_speed(const struct device *const dev, struct spi_config *config, uint32_t speed, bool lspd_opt)
{
	uint32_t val = speed & GENMASK(11, 0);

	if (lspd_opt)
		val |= L64X0_MIN_SPEED_LSPD_OPT;

	l64x0_setparam(dev, config, L64x0_ADDR_MIN_SPEED, val);
}
GEN_SETPARAM(kval_hold, KVAL_HOLD)
GEN_SETPARAM(kval_run, KVAL_RUN)
GEN_SETPARAM(kval_acc, KVAL_ACC)
GEN_SETPARAM(kval_dec, KVAL_DEC)
GEN_SETPARAM(int_speed, INT_SPEED)
GEN_SETPARAM(st_slp, ST_SLP)
GEN_SETPARAM(fn_slp_acc, FN_SLP_ACC)
GEN_SETPARAM(fn_slp_dec, FN_SLP_DEC)
GEN_SETPARAM(k_therm, K_THERM)
GEN_SETPARAM(adc_out, ADC_OUT)
GEN_SETPARAM(ocd_th, OCD_TH)
GEN_SETPARAM(stall_th, STALL_TH)
GEN_SETPARAM(fs_spd, FS_SPD)
GEN_SETPARAM(step_mode, STEP_MODE)
GEN_SETPARAM(alarm_en, ALARM_EN)
GEN_SETPARAM(gatecfg1, GATECFG1)
GEN_SETPARAM(gatecfg2, GATECFG2)
GEN_SETPARAM(config, CONFIG)
GEN_SETPARAM(status, STATUS)

#define GEN_GETPARAM(fname, pname)					\
	static inline int l64x0_getparam_ ##fname(const struct device *const dev, struct spi_config *config) \
	{								\
		return l64x0_getparam(dev, config, L64x0_ADDR_ ##pname);	\
	}

GEN_GETPARAM(abs_pos, ABS_POS)
GEN_GETPARAM(el_pos, EL_POS)
GEN_GETPARAM(mark, MARK)
GEN_GETPARAM(speed, SPEED)
GEN_GETPARAM(acc, ACC)
GEN_GETPARAM(dec, DEC)
GEN_GETPARAM(max_speed, MAX_SPEED)
GEN_GETPARAM(min_speed, MIN_SPEED)
GEN_GETPARAM(kval_hold, KVAL_HOLD)
GEN_GETPARAM(kval_run, KVAL_RUN)
GEN_GETPARAM(kval_acc, KVAL_ACC)
GEN_GETPARAM(kval_dec, KVAL_DEC)
GEN_GETPARAM(int_speed, INT_SPEED)
GEN_GETPARAM(st_slp, ST_SLP)
GEN_GETPARAM(fn_slp_acc, FN_SLP_ACC)
GEN_GETPARAM(fn_slp_dec, FN_SLP_DEC)
GEN_GETPARAM(k_therm, K_THERM)
GEN_GETPARAM(adc_out, ADC_OUT)
GEN_GETPARAM(ocd_th, OCD_TH)
GEN_GETPARAM(stall_th, STALL_TH)
GEN_GETPARAM(fs_spd, FS_SPD)
GEN_GETPARAM(step_mode, STEP_MODE)
GEN_GETPARAM(alarm_en, ALARM_EN)
GEN_GETPARAM(gatecfg1, GATECFG1)
GEN_GETPARAM(gatecfg2, GATECFG2)
GEN_GETPARAM(config, CONFIG)
GEN_GETPARAM(status, STATUS)
```

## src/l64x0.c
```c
/*
 * Copyright (c) 2023 Space Cubics, LLC.
 *
 * SPDX-License-Identifier: Apache-2.0
 */

#define DT_DRV_COMPAT st_l6470

#include <zephyr/logging/log.h>
LOG_MODULE_REGISTER(l64x0, LOG_LEVEL_DBG);

#include "l64x0.h"

#include <zephyr/device.h>
#include <zephyr/drivers/spi.h>
#include <zephyr/drivers/gpio.h>
#include <zephyr/sys/util.h>
#include <stdlib.h>

struct l64x0_config {
	struct spi_dt_spec spi;
};

/* Commands */
#define RX_BYTES_NONE (0)
#define RX_BYTES_GET_STATUS (2)

#define TX_BYTES_NONE (0)
#define TX_BYTES_RUN (3)
#define TX_BYTES_MOVE (3)

#define CMD_NOP          ((0))

#define CMD_SET_PARAM    ((0 << 5))
#define CMD_GET_PARAM    ((1 << 5))

#define CMD_MOVE         ((2 << 5))
#define CMD_RUN          ((2 << 5) | BIT(4))
#define CMD_STEP_CLOCK   ((2 << 5) | BIT(4) | BIT(3))

#define CMD_GOTO         ((3 << 5)
#define CMD_GOTO_DIR     ((3 << 5) |          BIT(3))
#define CMD_GO_HOME      ((3 << 5) | BIT(4))
#define CMD_GO_MARK      ((3 << 5) | BIT(4) | BIT(3))

#define CMD_GO_UNTIL     ((4 << 5) |                   BIT(1))
#define CMD_RELEASE_SW   ((4 << 5) | BIT(4)            BIT(1))

#define CMD_SOFT_HIZ     ((5 << 5))
#define CMD_HARD_HIZ     ((5 << 5) |          BIT(3))
#define CMD_SOFT_STOP    ((5 << 5) | BIT(4))
#define CMD_HARD_STOP    ((5 << 5) | BIT(4) | BIT(3))

#define CMD_RESET_DEVICE ((6 << 5))
#define CMD_GET_STATUS   ((6 << 5) | BIT(4))
#define CMD_RESET_POS    ((6 << 5) | BIT(4) | BIT(3))

#if IS_ENABLED(CONFIG_L6470)
static int bit_len[] = {
        [L64x0_ADDR_ABS_POS]    = 22,
        [L64x0_ADDR_EL_POS]     = 9,
        [L64x0_ADDR_MARK]       = 22,
        [L64x0_ADDR_SPEED]      = 20,
        [L64x0_ADDR_ACC]        = 12,
        [L64x0_ADDR_DEC]        = 12,
        [L64x0_ADDR_MAX_SPEED]  = 10,
        [L64x0_ADDR_MIN_SPEED]  = 13,
        [L64x0_ADDR_KVAL_HOLD]  = 8,
        [L64x0_ADDR_KVAL_RUN]   = 8,
        [L64x0_ADDR_KVAL_ACC]   = 8,
        [L64x0_ADDR_KVAL_DEC]   = 8,
        [L64x0_ADDR_INT_SPEED]  = 14,
        [L64x0_ADDR_ST_SLP]     = 8,
        [L64x0_ADDR_FN_SLP_ACC] = 8,
        [L64x0_ADDR_FN_SLP_DEC] = 8,
        [L64x0_ADDR_K_THERM]    = 4,
        [L64x0_ADDR_ADC_OUT]    = 5,
        [L64x0_ADDR_OCD_TH]     = 4,
        [L64x0_ADDR_STALL_TH]   = 7,
        [L64x0_ADDR_FS_SPD]     = 10,
        [L64x0_ADDR_STEP_MODE]  = 8,
        [L64x0_ADDR_ALARM_EN]   = 8,
        [L64x0_ADDR_CONFIG]     = 16,
        [L64x0_ADDR_STATUS]     = 16,
};
#elif IS_ENABLED(CONFIG_L6480)
static int bit_len[] = {
        [L64x0_ADDR_ABS_POS]    = 22,
        [L64x0_ADDR_EL_POS]     = 9,
        [L64x0_ADDR_MARK]       = 22,
        [L64x0_ADDR_SPEED]      = 20,
        [L64x0_ADDR_ACC]        = 12,
        [L64x0_ADDR_DEC]        = 12,
        [L64x0_ADDR_MAX_SPEED]  = 10,
        [L64x0_ADDR_MIN_SPEED]  = 12,
        [L64x0_ADDR_KVAL_HOLD]  = 8,
        [L64x0_ADDR_KVAL_RUN]   = 8,
        [L64x0_ADDR_KVAL_ACC]   = 8,
        [L64x0_ADDR_KVAL_DEC]   = 8,
        [L64x0_ADDR_INT_SPEED]  = 14,
        [L64x0_ADDR_ST_SLP]     = 8,
        [L64x0_ADDR_FN_SLP_ACC] = 8,
        [L64x0_ADDR_FN_SLP_DEC] = 8,
        [L64x0_ADDR_K_THERM]    = 4,
        [L64x0_ADDR_ADC_OUT]    = 5,
        [L64x0_ADDR_OCD_TH]     = 5,
        [L64x0_ADDR_STALL_TH]   = 5,
        [L64x0_ADDR_FS_SPD]     = 11,
        [L64x0_ADDR_STEP_MODE]  = 4,
        [L64x0_ADDR_ALARM_EN]   = 8,
        [L64x0_ADDR_GATECFG1]   = 11,
        [L64x0_ADDR_GATECFG2]   = 8,
        [L64x0_ADDR_CONFIG]     = 16,
        [L64x0_ADDR_STATUS]     = 16,
};
#endif

#define BITS_TO_BYTES(x) (((x) + 7) >> 3)

static int send_command(const struct device *const dev, uint8_t cmd, int val, int tx_bytes, int rx_bytes)
{
	const struct l64x0_config *config = dev->config;
	const struct spi_dt_spec *spec = &config->spi;
        uint8_t value;
        struct spi_buf bufs;
        struct spi_buf_set bufset;
        bufset.buffers = &bufs;
        bufset.count = 1;
        bufs.buf = &cmd;
        bufs.len = 1;
        int ret = 0;

        spi_write_dt(spec, &bufset);

        bufs.buf = &value;

        switch (tx_bytes) {
        case 0:
                break;
        case 1:
                value = val & 0xff;
                spi_write_dt(spec, &bufset);

                break;
        case 2:
                value = (val >> 8) & 0xff;
                spi_write_dt(spec, &bufset);

                value = val & 0xff;
                spi_write_dt(spec, &bufset);

                break;
        case 3:
                value = (val >> 16) & 0xff;
                spi_write_dt(spec, &bufset);

                value = (val >> 8) & 0xff;
                spi_write_dt(spec, &bufset);

                value = val & 0xff;
                spi_write_dt(spec, &bufset);

                break;
        default:
                break;
        }

        switch (rx_bytes) {
        case 0:
                break;
        case 1:
                /* FIXME: this breaks SPI communication */
                //k_busy_wait(10);
                spi_read_dt(spec, &bufset);
                ret = value;

                break;
        case 2:
                spi_read_dt(spec, &bufset);
                ret |= value << 8;

                spi_read_dt(spec, &bufset);
                ret |= value;

                break;
        case 3:
                spi_read_dt(spec, &bufset);
                ret |= value << 16;

                spi_read_dt(spec, &bufset);
                ret |= value << 8;

                spi_read_dt(spec, &bufset);
                ret |= value;

                break;
        default:
                LOG_WRN("rx_bytes is %d for cmd %x", rx_bytes, cmd);
                ret = -1;

                break;
        }

        return ret;
}

static int send_command_simple(const struct device *const dev, uint8_t cmd)
{
        return send_command(dev, cmd, 0, TX_BYTES_NONE, RX_BYTES_NONE);
}

int l64x0_nop(const struct device *const dev)
{
        return send_command_simple(dev, CMD_NOP);
}

void l64x0_setparam(const struct device *const dev, uint8_t param, uint32_t val)
{
        int tx_bytes;

        if (param == 0 || L64x0_ADDR_LAST <= param) {
                LOG_ERR("param = %x", param);
                return;
        }

        tx_bytes = BITS_TO_BYTES(bit_len[param]);

        send_command(dev, param, val, tx_bytes, RX_BYTES_NONE);
}

int l64x0_getparam(const struct device *const dev, uint8_t param)
{
        int rx_bytes;

        if (param == 0 || L64x0_ADDR_LAST <= param) {
                LOG_ERR("param = %x", param);
                return -EINVAL;
        }

        rx_bytes = BITS_TO_BYTES(bit_len[param]);

        return send_command(dev, CMD_GET_PARAM | param, 0, TX_BYTES_NONE, rx_bytes);
}

int l64x0_run(const struct device *const dev, int speed)
{
        bool dir = speed >= 0;

	return send_command(dev, CMD_RUN | dir, abs(speed), TX_BYTES_RUN, RX_BYTES_NONE);
}

int l64x0_move(const struct device *const dev, int n_step)
{
        bool dir = n_step >= 0;

        send_command(dev, CMD_MOVE | dir, abs(n_step), TX_BYTES_MOVE, RX_BYTES_NONE);

        return 0;
}

int l64x0_reset_device(const struct device *const dev)
{
        return send_command_simple(dev, CMD_RESET_DEVICE);
}

int l64x0_soft_stop(const struct device *const dev)
{
        return send_command_simple(dev, CMD_SOFT_STOP);
}

int l64x0_hard_stop(const struct device *const dev)
{
        return send_command_simple(dev, CMD_HARD_STOP);
}

int l64x0_soft_hiz(const struct device *const dev)
{
        return send_command_simple(dev, CMD_SOFT_HIZ);
}

int l64x0_hard_hiz(const struct device *const dev)
{
        return send_command_simple(dev, CMD_HARD_HIZ);
}

int l64x0_get_status(const struct device *const dev)
{
        return send_command(dev, CMD_GET_STATUS, 0, TX_BYTES_NONE, RX_BYTES_GET_STATUS);
}

int l64x0_init(const struct device *dev)
{
	return 0;
}

#define L64X0_INIT(n)							\
	static const struct l64x0_config l64x0_cfg_##n = {		\
		.spi = SPI_DT_SPEC_INST_GET(n,				\
					    SPI_OP_MODE_MASTER |	\
					    SPI_MODE_CPOL |		\
					    SPI_MODE_CPHA |		\
					    SPI_TRANSFER_MSB |		\
					    SPI_WORD_SET(8) |		\
					    SPI_LOCK_ON,		\
					    0),				\
	};								\
									\
	DEVICE_DT_INST_DEFINE(n,					\
			      &l64x0_init,				\
			      NULL,					\
			      NULL,					\
			      &l64x0_cfg_##n,				\
			      POST_KERNEL,				\
			      CONFIG_L64X0_INIT_PRIORITY,		\
			      NULL);

DT_INST_FOREACH_STATUS_OKAY(L64X0_INIT)
```
